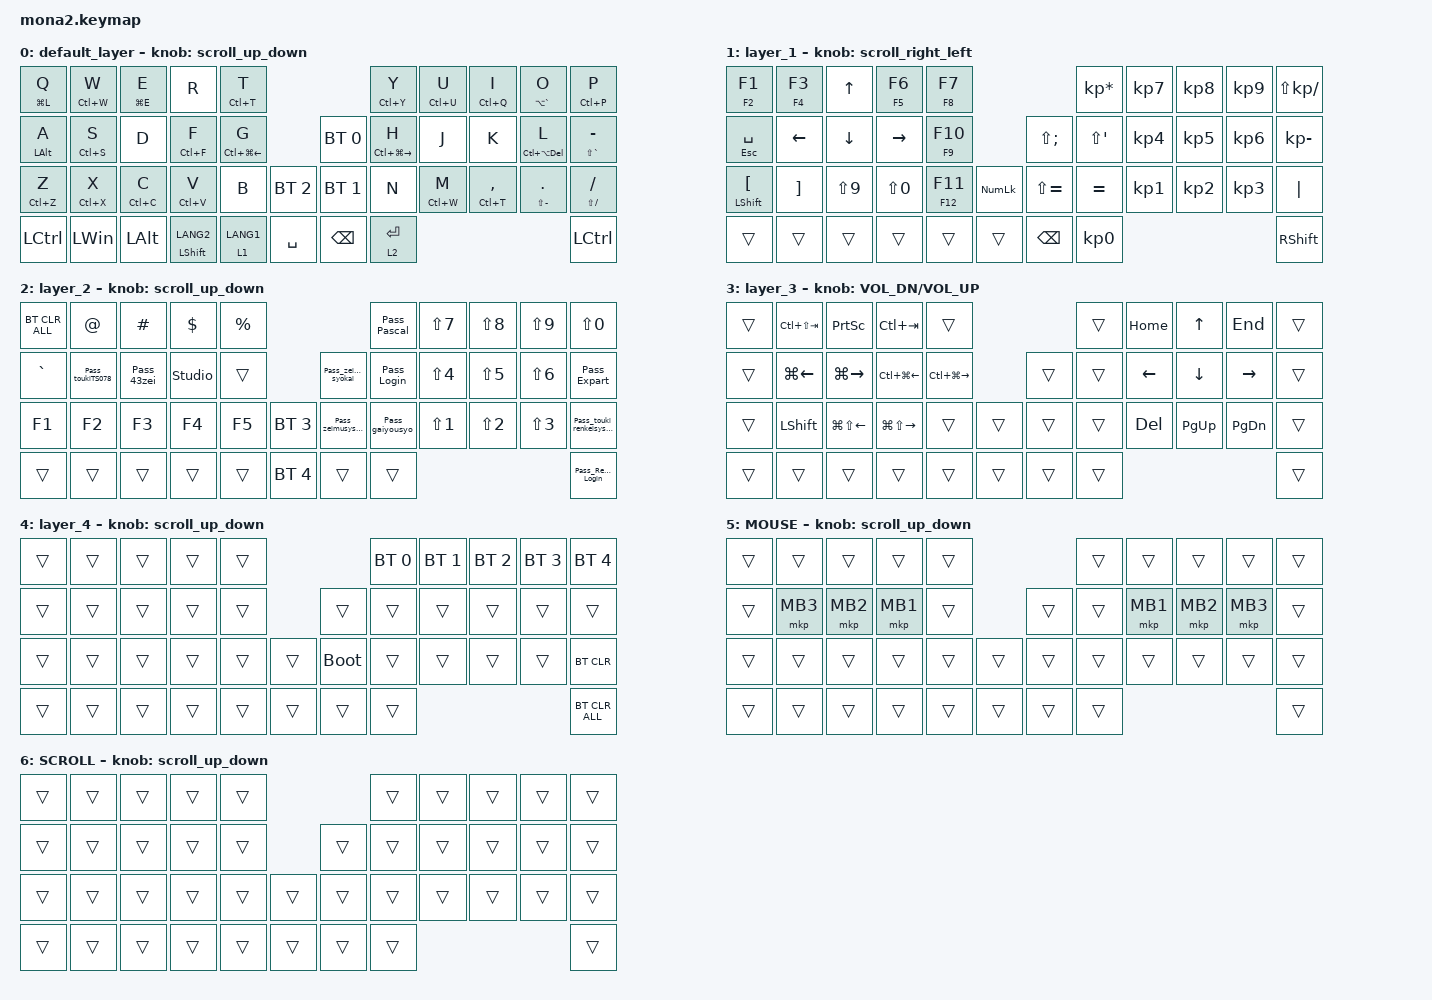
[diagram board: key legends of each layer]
#include <input/processors.dtsi>
#include <dt-bindings/zmk/input_transform.h>
#include <zephyr/dt-bindings/input/input-event-codes.h>
#include <behaviors.dtsi>
#include <dt-bindings/zmk/bt.h>
#include <dt-bindings/zmk/keys.h>
#include <dt-bindings/zmk/pointing.h>

#define ZMK_POINTING_DEFAULT_SCRL_VAL 100
#define MOUSE 5
#define SCROLL 6

&mt {
    flavor = "balanced";
    quick-tap-ms = <0>;
};

&lt {
    quick-tap-ms = <300>;
    flavor = "balanced";
};

/ {
    combos {
        compatible = "zmk,combos";

        tab_Right {
            bindings = <&kp LC(TAB)>;
            key-positions = <19 20>;
        };

        tab_Left {
            bindings = <&kp LS(LC(TAB))>;
            key-positions = <16 17>;
        };

        kakudai {
            bindings = <&kp LC(KP_PLUS)>;
            key-positions = <36 35>;
        };

        syukusyou {
            bindings = <&kp LC(KP_MINUS)>;
            key-positions = <22 23>;
        };

        LeftClick {
            bindings = <&mkp MB1>;
            key-positions = <17 18>;
        };

        RightClick {
            bindings = <&mkp MB2>;
            key-positions = <17 19>;
        };

        MiddleClick {
            bindings = <&mkp MB3>;
            key-positions = <17 18 19>;
        };

        kasoudesktop {
            bindings = <&kp LG(TAB)>;
            key-positions = <1 2>;
        };

        susumu {
            bindings = <&kp LA(RIGHT)>;
            key-positions = <30 31>;
        };

        modoru {
            bindings = <&kp LA(LEFT)>;
            key-positions = <29 30>;
        };

        Enter {
            bindings = <&kp ENTER>;
            key-positions = <11 12>;
        };

        Layer6seni {
            bindings = <&mo 6>;
            key-positions = <18 19>;
        };

        Del {
            bindings = <&kp DEL>;
            key-positions = <3 2>;
        };

        Tab {
            bindings = <&kp TAB>;
            key-positions = <13 12>;
        };
    };

    macros {
        Pass_Login: to_layer_0 {
            compatible = "zmk,behavior-macro";
            #binding-cells = <0>;
            bindings = <&kp LANG2 &kp LS(S) &kp LS(A) &kp S &kp N0 &kp N5 &kp N1 &kp N3 &kp N0 &kp N8 &kp RET>;
            label = "TO_LAYER_0";
        };

        Pass_Remote_Login: Pass_Remote_Login {
            compatible = "zmk,behavior-macro";
            #binding-cells = <0>;
            bindings = <&kp LANG2 &kp LS(G) &kp B &kp N0 &kp N5 &kp N1 &kp N3 &kp N0 &kp N8 &kp RET>;
            label = "PASS_REMOTE_LOGIN";
        };

        Pass_Pascal: Pass_Pascal {
            compatible = "zmk,behavior-macro";
            #binding-cells = <0>;
            bindings = <&kp LANG2 &kp N1 &kp N2 &kp N1 &kp N0 &kp N0 &kp N2 &kp TAB &kp N0 &kp N1 &kp N1 &kp N1 &kp N7 &kp N0 &kp N3 &kp N0 &kp TAB &kp N0 &kp N1 &kp N1 &kp N1 &kp N7 &kp N0 &kp N3 &kp N0 &kp RET>;
            label = "PASS_PASCAL";
        };

        Pass_Expart: Pass_Expart {
            compatible = "zmk,behavior-macro";
            #binding-cells = <0>;
            bindings = <&kp LANG2 &kp U &kp S &kp E &kp R &kp N2 &kp N4 &kp TAB &kp LS(Z) &kp LS(T) &kp LS(G) &kp LS(E) &kp LS(N) &kp LS(P) &kp LS(S) &kp LS(Y) &kp ENTER>;
            label = "PASS_EXPART";
        };

        Pass_43zei: Pass_43zei {
            compatible = "zmk,behavior-macro";
            #binding-cells = <0>;
            bindings = <&kp LANG2 &kp N4 &kp N3 &kp Z &kp E &kp I &kp AT &kp RET>;
            label = "PASS_43ZEI";
        };

        Pass_toukiTS078: Pass_toukiTS078 {
            compatible = "zmk,behavior-macro";
            #binding-cells = <0>;
            bindings = <&kp LANG2 &kp T &kp O &kp U &kp K &kp I &kp LS(T) &kp LS(S) &kp N0 &kp N7 &kp N8 &kp RET>;
            label = "PASS_TOUKITS078";
        };

        Pass_touki_renkeisystem: Pass_touki_renkeisystem {
            compatible = "zmk,behavior-macro";
            #binding-cells = <0>;
            bindings = <&kp LANG2 &kp LS(E) &kp LS(A) &kp N9 &kp N9 &kp N5 &kp N8 &kp N5 &kp TAB &kp S &kp MINUS &kp N0 &kp N1 &kp N1 &kp N1 &kp N7 &kp N0 &kp N3 &kp N0 &kp N1 &kp N1 &kp N0 &kp N5 &kp RET>;
            label = "PASS_TOUKI_RENKEISYSTEM";
        };

        Pass_gaiyousyo: Pass_gaiyousyo {
            compatible = "zmk,behavior-macro";
            #binding-cells = <0>;
            bindings = <&kp LANG2 &kp T &kp O &kp U &kp B &kp U &kp N0 &kp N1 &kp TAB &kp T &kp O &kp U &kp B &kp U &kp N0 &kp N1 &kp RET>;
            label = "PASS_GAIYOUSYO";
        };

        Pass_zeimusystem_syokai: Pass_zeimusystem {
            compatible = "zmk,behavior-macro";
            #binding-cells = <0>;
            bindings = <&kp LANG2 &kp N0 &kp N1 &kp N1 &kp N1 &kp N7 &kp N0 &kp N3 &kp N0 &kp TAB &kp N0 &kp N1 &kp N1 &kp N1 &kp N7 &kp N0 &kp N3 &kp N0 &kp RET>;
            label = "PASS_ZEIMUSYSTEM";
        };

        Pass_zeimusystem_2: Pass_zeimusystem_2 {
            compatible = "zmk,behavior-macro";
            #binding-cells = <0>;
            bindings = <&kp LANG2 &kp N0 &kp N1 &kp N1 &kp N1 &kp N7 &kp N0 &kp N3 &kp N0 &kp RET>;
            label = "PASS_ZEIMUSYSTEM_2";
        };
    };

    behaviors {
        lt_to_layer_0: lt_to_layer_0 {
            compatible = "zmk,behavior-hold-tap";
            label = "LAYER_TAP_TO_0";
            bindings = <&mo>, <&Pass_Login>;

            #binding-cells = <2>;
            tapping-term-ms = <200>;
        };

        scroll_up_down: mouse_wheel_up_down {
            compatible = "zmk,behavior-sensor-rotate";
            #sensor-binding-cells = <0>;
            bindings = <&msc SCRL_DOWN>, <&msc SCRL_UP>;

            tap-ms = <20>;
        };

        scroll_right_left: mouse_wheel_right_left {
            compatible = "zmk,behavior-sensor-rotate";
            #sensor-binding-cells = <0>;
            bindings = <&msc SCRL_LEFT>, <&msc SCRL_RIGHT>;

            tap-ms = <20>;
        };
    };

    keymap {
        compatible = "zmk,keymap";

        default_layer {
            bindings = <
&mt LG(L) Q  &mt LC(W) W   &mt LG(E) E   &kp R             &mt LC(T) T                                        &mt LC(Y) Y          &mt LC(U) U  &mt LC(Q) I      &mt LA(GRAVE) O    &mt LC(P) P
&mt LALT A   &mt LC(S) S   &kp D         &mt LC(F) F       &mt LC(LG(LEFT)) G                  &bt BT_SEL 0   &mt LC(LG(RIGHT)) H  &kp J        &kp K            &mt LC(LA(DEL)) L  &mt LS(GRAVE) MINUS
&mt LC(Z) Z  &mt LC(X) X   &mt LC(C) C   &mt LC(V) V       &kp B               &bt BT_SEL 2    &bt BT_SEL 1   &kp N                &mt LC(W) M  &mt LC(T) COMMA  &mt LS(MINUS) DOT  &mt LS(SLASH) SLASH
&kp LCTRL    &kp LEFT_WIN  &kp LEFT_ALT  &mt LSHIFT LANG2  &lt 1 LANG1         &kp SPACE       &kp BACKSPACE  &lt 2 ENTER                                                           &kp LEFT_CONTROL
            >;

            sensor-bindings = <&scroll_up_down>;
        };

        layer_1 {
            bindings = <
&mt F2 F1                    &mt F4 F3          &kp UP      &mt F5 F6   &mt F8 F7                                         &kp KP_ASTERISK       &kp KP_NUMBER_7  &kp KP_NUMBER_8  &kp KP_NUMBER_9  &kp LS(KP_DIVIDE)
&mt ESC SPACE                &kp LEFT           &kp DOWN    &kp RIGHT   &mt F9 F10                     &kp LS(SEMICOLON)  &kp LS(SINGLE_QUOTE)  &kp KP_NUMBER_4  &kp KP_NUMBER_5  &kp KP_NUMBER_6  &kp KP_MINUS
&mt LEFT_SHIFT LEFT_BRACKET  &kp RIGHT_BRACKET  &kp LS(N9)  &kp LS(N0)  &mt F12 F11  &kp KP_NUMLOCK    &kp LS(EQUAL)      &kp EQUAL             &kp KP_NUMBER_1  &kp KP_NUMBER_2  &kp KP_NUMBER_3  &kp PIPE
&trans                       &trans             &trans      &trans      &trans       &trans            &kp BACKSPACE      &kp KP_NUMBER_0                                                          &kp RIGHT_SHIFT
            >;

            sensor-bindings = <&scroll_right_left>;
        };

        layer_2 {
            bindings = <
&bt BT_CLR_ALL  &kp AT_SIGN       &kp POUND    &kp DOLLAR      &kp PERCENT                                            &Pass_Pascal     &kp LS(NUMBER_7)  &kp LS(N8)        &kp LS(N9)        &kp LS(N0)
&kp GRAVE       &Pass_toukiTS078  &Pass_43zei  &studio_unlock  &trans                       &Pass_zeimusystem_syokai  &Pass_Login      &kp LS(NUMBER_4)  &kp LS(N5)        &kp LS(NUMBER_6)  &Pass_Expart
&kp F1          &kp F2            &kp F3       &kp F4          &kp F5       &bt BT_SEL 3    &Pass_zeimusystem_2       &Pass_gaiyousyo  &kp LS(NUMBER_1)  &kp LS(NUMBER_2)  &kp LS(NUMBER_3)  &Pass_touki_renkeisystem
&trans          &trans            &trans       &trans          &trans       &bt BT_SEL 4    &trans                    &trans                                                                 &Pass_Remote_Login
            >;

            sensor-bindings = <&scroll_up_down>;
        };

        layer_3 {
            bindings = <
&trans  &kp LC(LS(TAB))     &kp PRINTSCREEN         &kp LC(TAB)              &trans                                     &trans  &kp HOME        &kp UP_ARROW    &kp END          &trans
&trans  &kp LG(LEFT_ARROW)  &kp LG(RIGHT_ARROW)     &kp LC(LG(LEFT_ARROW))   &kp LC(LG(RIGHT_ARROW))            &trans  &trans  &kp LEFT_ARROW  &kp DOWN_ARROW  &kp RIGHT_ARROW  &trans
&trans  &kp LEFT_SHIFT      &kp LG(LS(LEFT_ARROW))  &kp LG(LS(RIGHT_ARROW))  &trans                   &trans    &trans  &trans  &kp DELETE      &kp PAGE_UP     &kp PAGE_DOWN    &trans
&trans  &trans              &trans                  &trans                   &trans                   &trans    &trans  &trans                                                   &trans
            >;

            sensor-bindings = <&inc_dec_kp C_VOL_DN C_VOL_UP>;
        };

        layer_4 {
            bindings = <
&trans  &trans  &trans  &trans  &trans                         &bt BT_SEL 0  &bt BT_SEL 1  &bt BT_SEL 2  &bt BT_SEL 3  &bt BT_SEL 4
&trans  &trans  &trans  &trans  &trans            &trans       &trans        &trans        &trans        &trans        &trans
&trans  &trans  &trans  &trans  &trans  &trans    &bootloader  &trans        &trans        &trans        &trans        &bt BT_CLR
&trans  &trans  &trans  &trans  &trans  &trans    &trans       &trans                                                  &bt BT_CLR_ALL
            >;

            sensor-bindings = <&scroll_up_down>;
        };

        MOUSE {
            bindings = <
&trans  &trans    &trans    &trans    &trans                    &trans  &trans    &trans    &trans    &trans
&trans  &mkp MB3  &mkp MB2  &mkp MB1  &trans            &trans  &trans  &mkp MB1  &mkp MB2  &mkp MB3  &trans
&trans  &trans    &trans    &trans    &trans  &trans    &trans  &trans  &trans    &trans    &trans    &trans
&trans  &trans    &trans    &trans    &trans  &trans    &trans  &trans                                &trans
            >;

            sensor-bindings = <&scroll_up_down>;
        };

        SCROLL {
            bindings = <
&trans  &trans  &trans  &trans  &trans                    &trans  &trans  &trans  &trans  &trans
&trans  &trans  &trans  &trans  &trans            &trans  &trans  &trans  &trans  &trans  &trans
&trans  &trans  &trans  &trans  &trans  &trans    &trans  &trans  &trans  &trans  &trans  &trans
&trans  &trans  &trans  &trans  &trans  &trans    &trans  &trans                          &trans
            >;

            sensor-bindings = <&scroll_up_down>;
        };
    };
};
